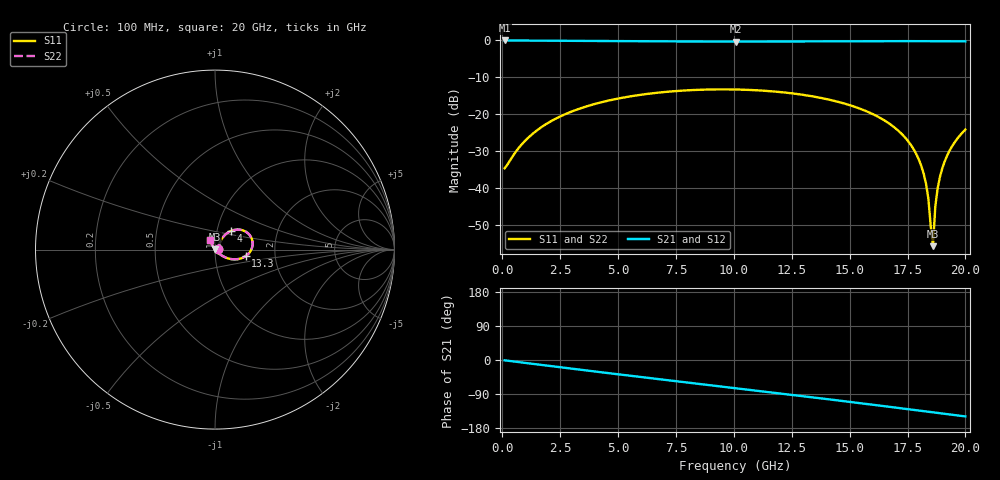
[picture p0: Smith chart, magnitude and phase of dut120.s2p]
! Touchstone file exported from HFSS 2026.1.0
!  File:  C:/ffzhzh/LocalFiles/Ansys_Project_Files/temp_train_TSV_RDL_120_1783047469_36532.aedt
!  Generated:  11:07:41 AM Jul  3, 2026
!  Design:  TSV_RDL
!  Project:  temp_train_TSV_RDL_120_1783047469_36532
! Variables:
!  h_bsmrdl = 4.12um
!  h_ox = 20um
!  h_rdl = 5um
!  h_sub = 69.5um
!  h_tmrdl = 2.12um
!  h_tsv = 69.5um
!  h_via = 3um
!  l_bsmrdl = 192.52um
!  l_sub = 2006.19um
!  l_tmrdl = 231.5um
!  m_sub = 200um
!  pitch = 36um
!  r_tsv = 14.46um
!  s_tmrdl = 10um
!  w_bsmrdl = 23.55um
!  w_sub = 500um
!  w_tmrdl = 10.66um
!  x_tsv_center1 = 236.83um
!  x_tsv_center2 = 452.9um
!  x_tsv_center3 = 695.06um
!  x_tsv_center4 = 911.13um
!  x_tsv_center5 = 1153.29um
!  x_tsv_center6 = 1369.36um
# GHz S MA R 50.000000
! Terminal data exported
! Port[1] = TM_RDL1_1_T1
! Port[2] = TM_RDL5_1_T1
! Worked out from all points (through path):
!   200 points, 100 MHz to 20 GHz, reference 50 ohm
!   highest |S21| = -0.16 dB at 100 MHz (marker M1); lowest = -0.5 dB at 10.1 GHz (marker M2)
!   group delay of S21, straight-line fit = 20.4 ps
!   lowest |S11| = -55.8 dB at 18.6 GHz (marker M3), VSWR 1.00, Z = 50 + j0.161 ohm
!   |S11| at or under -10 dB: start of sweep to end of sweep
!   |S22| runs from -55.6 to -13.4 dB; largest |S21 - S12| = 1.8e-12
!   S11 on the Smith chart (normalised r, x): 100 MHz: 1.04, +0.01; 4 GHz: 1.17, +0.25; 13.3 GHz: 1.41, -0.11; 20 GHz: 0.94, +0.10
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0.1  0.01831 13.0  0.9822 -0.8  0.9822 -0.8  0.01831 13.0
! Gamma 0 0 0 0
! Port Impedance 50 0 50 0
0.8  0.03727 50.6  0.979 -6.3  0.979 -6.3  0.03727 50.6
1.5  0.05972 57.2  0.9765 -11.6  0.9765 -11.6  0.05972 57.2
3.5  0.122 52.3  0.9687 -26.6  0.9687 -26.6  0.122 52.3
4  0.1358 49.6  0.9664 -30.3  0.9664 -30.3  0.1358 49.6
6.8  0.1941 32.2  0.9546 -50.8  0.9546 -50.8  0.1941 32.2
10.1  0.213 10.1  0.9487 -74.6  0.9487 -74.6  0.213 10.1
13.3  0.1741 -12.2  0.9535 -97.8  0.9535 -97.8  0.1741 -12.2
13.4  0.172 -12.9  0.9538 -98.6  0.9538 -98.6  0.172 -12.9
15.3  0.1218 -26.5  0.9587 -112.7  0.9587 -112.7  0.1218 -26.5
16.7  0.07414 -36.6  0.961 -123.4  0.961 -123.4  0.07412 -36.6
17.6  0.03965 -42.7  0.9614 -130.3  0.9614 -130.3  0.03963 -42.6
18.1  0.0195 -45.0  0.961 -134.2  0.961 -134.2  0.01948 -44.8
18.3  0.01128 -44.3  0.9608 -135.7  0.9608 -135.7  0.01127 -44.1
18.4  0.007162 -42.1  0.9606 -136.5  0.9606 -136.5  0.007148 -41.7
18.5  0.003094 -31.9  0.9604 -137.3  0.9604 -137.3  0.003089 -31.0
18.6  0.001614 89.6  0.9602 -138.1  0.9602 -138.1  0.001659 88.8
18.7  0.005553 117.0  0.96 -138.8  0.96 -138.8  0.005581 116.6
18.8  0.009729 120.8  0.9598 -139.6  0.9598 -139.6  0.009754 120.6
19  0.01818 122.1  0.9593 -141.2  0.9593 -141.2  0.0182 121.9
19.4  0.03525 120.6  0.9581 -144.3  0.9581 -144.3  0.03527 120.5
20  0.06106 116.7  0.9557 -148.9  0.9557 -148.9  0.06108 116.7
